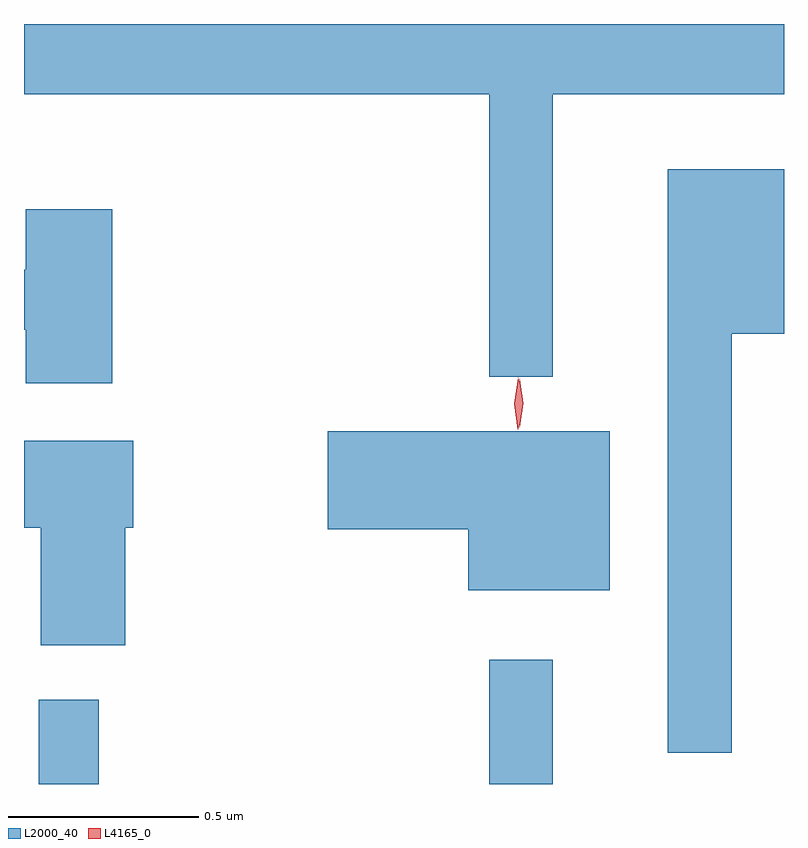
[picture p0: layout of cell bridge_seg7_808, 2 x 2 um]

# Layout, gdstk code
import gdstk
lib = gdstk.Library(unit=1e-6, precision=1e-09)
def R(c, l, rs):  # rectangles x0, y0, x1, y1
    for r in rs: c.add(gdstk.rectangle(r[:2], r[2:], *l))
def P(c, l, *ps):  # polygons
    for p in ps: c.add(gdstk.Polygon(p, *l))
L2000_40 = (2000, 40)
L4165_0 = (4165, 0)

bridge_seg7_808 = lib.new_cell('bridge_seg7_808')
R(bridge_seg7_808, L2000_40, [(208.616,1765.781,208.774,1766.003), (209.801,1765.781,209.969,1766.108)])
P(bridge_seg7_808, L2000_40, [(209.969,1767.596),(210.577,1767.596),(210.577,1767.781),(208.577,1767.781),(208.577,1767.596),(209.801,1767.596),(209.801,1766.853),(209.969,1766.853)],
  [(210.439,1766.966),(210.577,1766.966),(210.577,1767.399),(210.271,1767.399),(210.271,1765.863),(210.439,1765.863)],
  [(208.809,1767.294),(208.581,1767.294),(208.581,1767.134),(208.577,1767.134),(208.577,1766.976),(208.581,1766.976),(208.581,1766.836),(208.809,1766.836)],
  [(210.119,1766.709),(209.376,1766.709),(209.376,1766.451),(209.746,1766.451),(209.746,1766.291),(210.119,1766.291)],
  [(208.844,1766.456),(208.864,1766.456),(208.864,1766.684),(208.577,1766.684),(208.577,1766.456),(208.621,1766.456),(208.621,1766.146),(208.844,1766.146)])
P(bridge_seg7_808, L4165_0, [(209.876,1766.714),(209.876,1766.714),(209.867,1766.782),(209.877,1766.85),(209.878,1766.85),(209.878,1766.85),(209.887,1766.782),(209.877,1766.714)],
  [(209.881,1766.72),(209.871,1766.783),(209.881,1766.846),(209.882,1766.847),(209.882,1766.846),(209.891,1766.783),(209.882,1766.72),(209.882,1766.72)])

lib.write_gds('bridge_seg7_808.gds')
